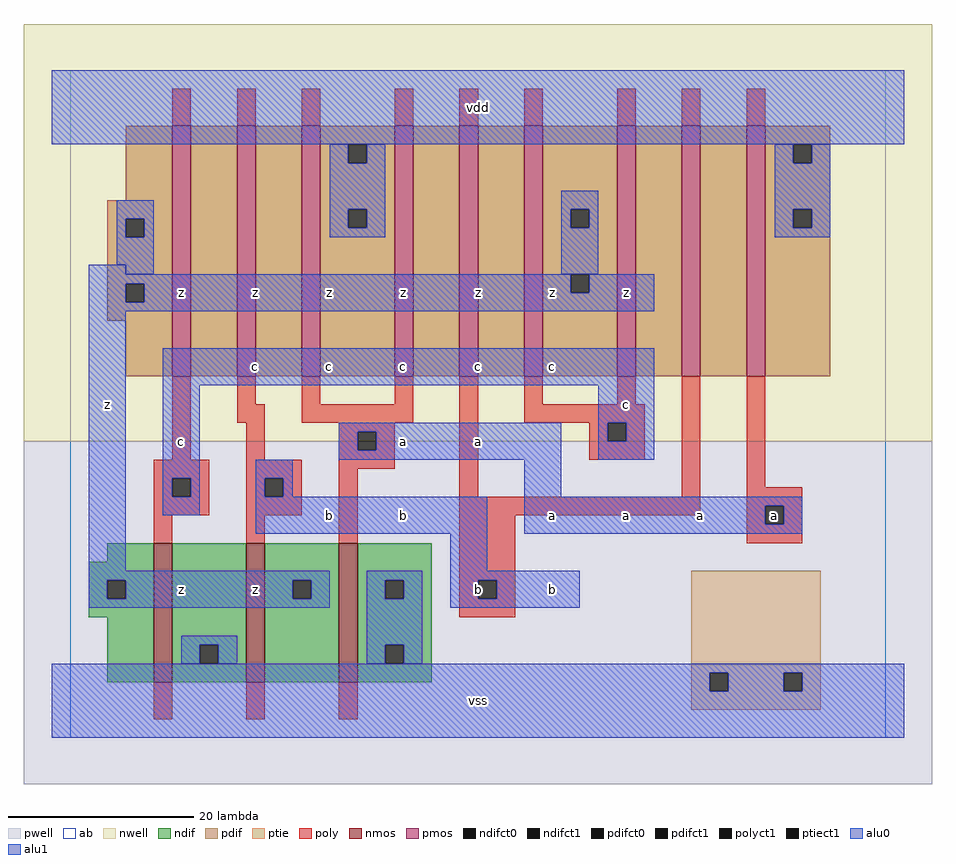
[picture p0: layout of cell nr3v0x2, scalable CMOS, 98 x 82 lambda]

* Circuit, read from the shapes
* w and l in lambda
.subckt nr3v0x2 a b c vdd vss z
M1 vss c z vss nfet w=15 l=2
M2 z b vss vss nfet w=15 l=2
M3 vss a z vss nfet w=15 l=2
M4 n1 c z n2 pfet w=27 l=2
M5 n3 b n1 n2 pfet w=27 l=2
M6 vdd a n3 n2 pfet w=27 l=2
M7 n4 a vdd n2 pfet w=27 l=2
M8 n5 b n4 n2 pfet w=27 l=2
M9 z c n5 n2 pfet w=27 l=2
M10 n6 c z n2 pfet w=27 l=2
M11 n7 b n6 n2 pfet w=27 l=2
M12 vdd a n7 n2 pfet w=27 l=2
.ends

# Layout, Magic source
magic
tech scmos
<< ab >>
rect 0 0 88 72
<< nwell >>
rect -5 32 93 77
<< pwell >>
rect -5 -5 93 32
<< poly >>
rect 11 66 13 70
rect 18 66 20 70
rect 25 66 27 70
rect 35 66 37 70
rect 42 66 44 70
rect 49 66 51 70
rect 59 66 61 70
rect 66 66 68 70
rect 73 66 75 70
rect 11 30 13 39
rect 18 36 20 39
rect 25 36 27 39
rect 35 36 37 39
rect 18 34 21 36
rect 25 34 37 36
rect 19 30 21 34
rect 29 33 35 34
rect 29 31 31 33
rect 33 31 35 33
rect 9 28 15 30
rect 9 26 11 28
rect 13 26 15 28
rect 9 24 15 26
rect 19 28 25 30
rect 19 26 21 28
rect 23 26 25 28
rect 19 24 25 26
rect 29 29 35 31
rect 9 21 11 24
rect 19 21 21 24
rect 29 21 31 29
rect 42 26 44 39
rect 49 36 51 39
rect 59 36 61 39
rect 49 34 62 36
rect 56 32 58 34
rect 60 32 62 34
rect 56 30 62 32
rect 66 26 68 39
rect 42 24 68 26
rect 73 27 75 39
rect 73 25 79 27
rect 42 17 48 24
rect 73 23 75 25
rect 77 23 79 25
rect 73 21 79 23
rect 42 15 44 17
rect 46 15 48 17
rect 42 13 48 15
rect 9 2 11 6
rect 19 2 21 6
rect 29 2 31 6
<< ndif >>
rect 4 19 9 21
rect 2 17 9 19
rect 2 15 4 17
rect 6 15 9 17
rect 2 13 9 15
rect 4 6 9 13
rect 11 10 19 21
rect 11 8 14 10
rect 16 8 19 10
rect 11 6 19 8
rect 21 17 29 21
rect 21 15 24 17
rect 26 15 29 17
rect 21 6 29 15
rect 31 17 39 21
rect 31 15 34 17
rect 36 15 39 17
rect 31 10 39 15
rect 31 8 34 10
rect 36 8 39 10
rect 31 6 39 8
<< pdif >>
rect 6 58 11 66
rect 4 56 11 58
rect 4 54 6 56
rect 8 54 11 56
rect 4 49 11 54
rect 4 47 6 49
rect 8 47 11 49
rect 4 45 11 47
rect 6 39 11 45
rect 13 39 18 66
rect 20 39 25 66
rect 27 64 35 66
rect 27 62 30 64
rect 32 62 35 64
rect 27 57 35 62
rect 27 55 30 57
rect 32 55 35 57
rect 27 39 35 55
rect 37 39 42 66
rect 44 39 49 66
rect 51 57 59 66
rect 51 55 54 57
rect 56 55 59 57
rect 51 50 59 55
rect 51 48 54 50
rect 56 48 59 50
rect 51 39 59 48
rect 61 39 66 66
rect 68 39 73 66
rect 75 64 82 66
rect 75 62 78 64
rect 80 62 82 64
rect 75 57 82 62
rect 75 55 78 57
rect 80 55 82 57
rect 75 39 82 55
<< alu1 >>
rect -2 64 90 72
rect 2 50 6 51
rect 2 49 54 50
rect 2 47 6 49
rect 8 48 54 49
rect 56 48 63 50
rect 8 47 63 48
rect 2 46 63 47
rect 2 18 6 46
rect 10 38 63 42
rect 10 28 14 38
rect 57 34 63 38
rect 29 33 53 34
rect 29 31 31 33
rect 33 31 53 33
rect 29 30 53 31
rect 57 32 58 34
rect 60 32 63 34
rect 57 30 63 32
rect 10 26 11 28
rect 13 26 14 28
rect 10 24 14 26
rect 20 28 24 30
rect 20 26 21 28
rect 23 26 24 28
rect 49 26 53 30
rect 20 22 45 26
rect 49 25 79 26
rect 49 23 75 25
rect 77 23 79 25
rect 49 22 79 23
rect 41 18 45 22
rect 2 17 28 18
rect 2 15 4 17
rect 6 15 24 17
rect 26 15 28 17
rect 2 14 28 15
rect 41 17 55 18
rect 41 15 44 17
rect 46 15 55 17
rect 41 14 55 15
rect -2 7 90 8
rect -2 5 69 7
rect 71 5 77 7
rect 79 5 90 7
rect -2 0 90 5
<< ptie >>
rect 67 7 81 18
rect 67 5 69 7
rect 71 5 77 7
rect 79 5 81 7
rect 67 3 81 5
<< nmos >>
rect 9 6 11 21
rect 19 6 21 21
rect 29 6 31 21
<< pmos >>
rect 11 39 13 66
rect 18 39 20 66
rect 25 39 27 66
rect 35 39 37 66
rect 42 39 44 66
rect 49 39 51 66
rect 59 39 61 66
rect 66 39 68 66
rect 73 39 75 66
<< polyct1 >>
rect 31 31 33 33
rect 11 26 13 28
rect 21 26 23 28
rect 58 32 60 34
rect 75 23 77 25
rect 44 15 46 17
<< ndifct0 >>
rect 14 8 16 10
rect 34 15 36 17
rect 34 8 36 10
<< ndifct1 >>
rect 4 15 6 17
rect 24 15 26 17
<< ptiect1 >>
rect 69 5 71 7
rect 77 5 79 7
<< pdifct0 >>
rect 6 54 8 56
rect 30 62 32 64
rect 30 55 32 57
rect 54 55 56 57
rect 78 62 80 64
rect 78 55 80 57
<< pdifct1 >>
rect 6 47 8 49
rect 54 48 56 50
<< alu0 >>
rect 28 62 30 64
rect 32 62 34 64
rect 5 56 9 58
rect 5 54 6 56
rect 8 54 9 56
rect 28 57 34 62
rect 76 62 78 64
rect 80 62 82 64
rect 28 55 30 57
rect 32 55 34 57
rect 28 54 34 55
rect 53 57 57 59
rect 53 55 54 57
rect 56 55 57 57
rect 5 51 9 54
rect 6 50 9 51
rect 53 50 57 55
rect 76 57 82 62
rect 76 55 78 57
rect 80 55 82 57
rect 76 54 82 55
rect 32 17 38 18
rect 32 15 34 17
rect 36 15 38 17
rect 12 10 18 11
rect 12 8 14 10
rect 16 8 18 10
rect 32 10 38 15
rect 32 8 34 10
rect 36 8 38 10
<< labels >>
rlabel alu1 12 16 12 16 6 z
rlabel alu1 12 32 12 32 6 c
rlabel alu1 4 36 4 36 6 z
rlabel alu1 12 48 12 48 6 z
rlabel alu1 20 16 20 16 6 z
rlabel alu1 28 24 28 24 6 b
rlabel alu1 20 40 20 40 6 c
rlabel alu1 28 40 28 40 6 c
rlabel alu1 20 48 20 48 6 z
rlabel alu1 28 48 28 48 6 z
rlabel alu1 44 4 44 4 6 vss
rlabel alu1 44 16 44 16 6 b
rlabel alu1 36 24 36 24 6 b
rlabel alu1 44 32 44 32 6 a
rlabel alu1 36 32 36 32 6 a
rlabel alu1 36 40 36 40 6 c
rlabel alu1 44 40 44 40 6 c
rlabel alu1 36 48 36 48 6 z
rlabel alu1 44 48 44 48 6 z
rlabel alu1 44 68 44 68 6 vdd
rlabel alu1 52 16 52 16 6 b
rlabel alu1 52 24 52 24 6 a
rlabel alu1 60 24 60 24 6 a
rlabel alu1 68 24 68 24 6 a
rlabel alu1 52 40 52 40 6 c
rlabel alu1 60 36 60 36 6 c
rlabel alu1 52 48 52 48 6 z
rlabel alu1 60 48 60 48 6 z
rlabel polyct1 76 24 76 24 6 a
<< end >>
